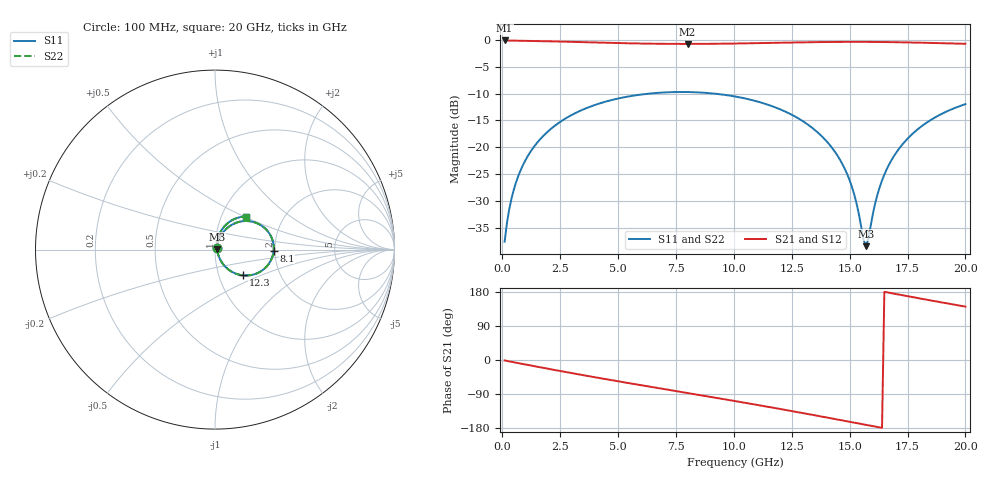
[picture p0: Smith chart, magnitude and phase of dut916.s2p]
! Touchstone file exported from HFSS 2026.1.0
!  File:  C:/ffzhzh/LocalFiles/Ansys_Project_Files/temp_train_TSV_RDL_916_1783278731_38820.aedt
!  Generated:  03:21:23 AM Jul  6, 2026
!  Design:  TSV_RDL
!  Project:  temp_train_TSV_RDL_916_1783278731_38820
! Variables:
!  h_bsmrdl = 3.12um
!  h_ox = 20um
!  h_rdl = 5um
!  h_sub = 92.86um
!  h_tmrdl = 5.92um
!  h_tsv = 92.86um
!  h_via = 3um
!  l_bsmrdl = 224.96um
!  l_sub = 3533.6um
!  l_tmrdl = 576.04um
!  m_sub = 200um
!  pitch = 44.76um
!  r_tsv = 11um
!  s_tmrdl = 10um
!  w_bsmrdl = 25.92um
!  w_sub = 500um
!  w_tmrdl = 25.6um
!  x_tsv_center1 = 588.84um
!  x_tsv_center2 = 839.72um
!  x_tsv_center3 = 1441.36um
!  x_tsv_center4 = 1692.24um
!  x_tsv_center5 = 2293.88um
!  x_tsv_center6 = 2544.76um
# GHz S MA R 50.000000
! Terminal data exported
! Port[1] = TM_RDL1_1_T1
! Port[2] = TM_RDL5_1_T1
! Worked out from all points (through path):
!   200 points, 100 MHz to 20 GHz, reference 50 ohm
!   highest |S21| = -0.09 dB at 100 MHz (marker M1); lowest = -0.7 dB at 8 GHz (marker M2)
!   group delay of S21, straight-line fit = 30.1 ps
!   lowest |S11| = -38.5 dB at 15.7 GHz (marker M3), VSWR 1.02, Z = 51.2 + j0.127 ohm
!   |S11| at or under -10 dB: start of sweep to 6.344 GHz; 9.156 GHz to end of sweep
!   |S22| runs from -38.5 to -9.7 dB; largest |S21 - S12| = 2.2e-14
!   S11 on the Smith chart (normalised r, x): 100 MHz: 1.02, +0.02; 8.1 GHz: 1.97, -0.03; 12.3 GHz: 1.30, -0.39; 20 GHz: 1.30, +0.51
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0.1  0.01315 39.5  0.99 -1.2  0.99 -1.2  0.01315 39.5
! Gamma 0 0 0 0
! Port Impedance 50 0 50 0
0.3  0.02642 60.9  0.9884 -3.6  0.9884 -3.6  0.02642 60.9
0.5  0.04042 66.5  0.9871 -6.0  0.9871 -6.0  0.04042 66.5
1.1  0.08262 67.2  0.9825 -13.0  0.9825 -13.0  0.08262 67.2
2.1  0.1484 58.9  0.9718 -24.5  0.9718 -24.5  0.1484 58.9
3.5  0.2253 44.8  0.9536 -40.1  0.9536 -40.1  0.2253 44.8
5.1  0.2876 28.6  0.9344 -57.2  0.9344 -57.2  0.2876 28.6
6.8  0.3223 11.8  0.9217 -74.8  0.9217 -74.8  0.3224 11.8
8  0.3271 -0.0  0.9192 -87.1  0.9192 -87.1  0.3271 -0.0
8.1  0.3268 -1.0  0.9192 -88.2  0.9192 -88.2  0.3268 -1.0
10.1  0.2961 -20.8  0.9271 -108.9  0.9271 -108.9  0.2961 -20.8
12.3  0.2111 -42.8  0.9455 -132.5  0.9455 -132.5  0.2111 -42.8
13.4  0.1508 -53.4  0.9541 -144.8  0.9541 -144.8  0.1508 -53.5
14.2  0.1013 -60.0  0.9585 -153.9  0.9585 -153.9  0.1014 -60.1
14.8  0.06233 -62.5  0.9603 -160.7  0.9603 -160.7  0.06236 -62.5
15.2  0.03622 -58.7  0.9606 -165.3  0.9606 -165.3  0.03625 -58.8
15.7  0.01195 6.0  0.9601 -171.1  0.9601 -171.1  0.01194 5.8
16.2  0.03604 71.4  0.9584 -176.8  0.9584 -176.8  0.036 71.4
16.7  0.0687 75.2  0.9557 177.5  0.9557 177.5  0.06866 75.2
17.3  0.1075 72.2  0.9512 170.7  0.9512 170.7  0.1075 72.2
18  0.1506 66.4  0.9446 162.8  0.9446 162.8  0.1505 66.3
20  0.2522 46.9  0.9217 140.9  0.9217 140.9  0.2521 46.9
